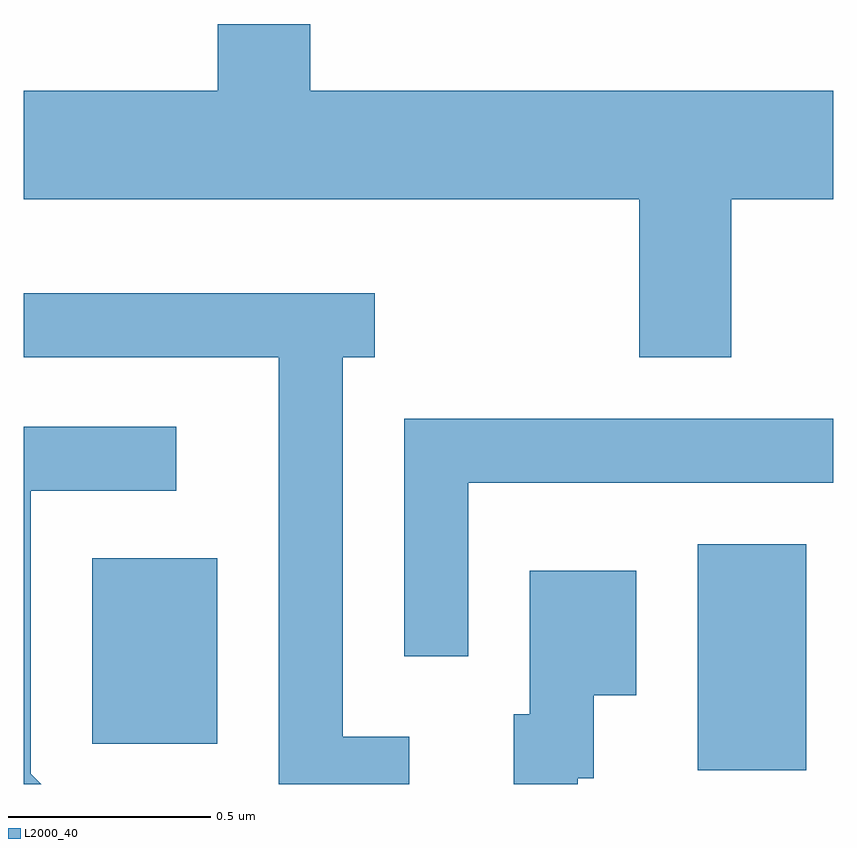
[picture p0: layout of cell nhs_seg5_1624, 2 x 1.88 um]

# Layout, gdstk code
import gdstk
lib = gdstk.Library(unit=1e-6, precision=1e-09)
def R(c, l, rs):  # rectangles x0, y0, x1, y1
    for r in rs: c.add(gdstk.rectangle(r[:2], r[2:], *l))
def P(c, l, *ps):  # polygons
    for p in ps: c.add(gdstk.Polygon(p, *l))
L2000_40 = (2000, 40)

nhs_seg5_1624 = lib.new_cell('nhs_seg5_1624')
R(nhs_seg5_1624, L2000_40, [(198.276,1513.106,198.544,1513.664), (196.781,1513.171,197.089,1513.629)])
P(nhs_seg5_1624, L2000_40, [(198.359,1514.516),(198.611,1514.516),(198.611,1514.784),(197.319,1514.784),(197.319,1514.949),(197.091,1514.949),(197.091,1514.784),(196.611,1514.784),(196.611,1514.516),(198.131,1514.516),(198.131,1514.126),(198.359,1514.126)],
  [(197.563,1513.189),(197.399,1513.189),(197.399,1514.126),(197.478,1514.126),(197.478,1514.284),(196.611,1514.284),(196.611,1514.126),(197.241,1514.126),(197.241,1513.072),(197.563,1513.072)],
  [(197.709,1513.816),(198.611,1513.816),(198.611,1513.974),(197.551,1513.974),(197.551,1513.388),(197.709,1513.388)],
  [(196.629,1513.097),(196.629,1513.796),(196.988,1513.796),(196.988,1513.954),(196.611,1513.954),(196.611,1513.072),(196.654,1513.072)],
  [(197.979,1513.086),(198.019,1513.086),(198.019,1513.291),(198.124,1513.291),(198.124,1513.599),(197.861,1513.599),(197.861,1513.244),(197.821,1513.244),(197.821,1513.072),(197.979,1513.072)])

lib.write_gds('nhs_seg5_1624.gds')
